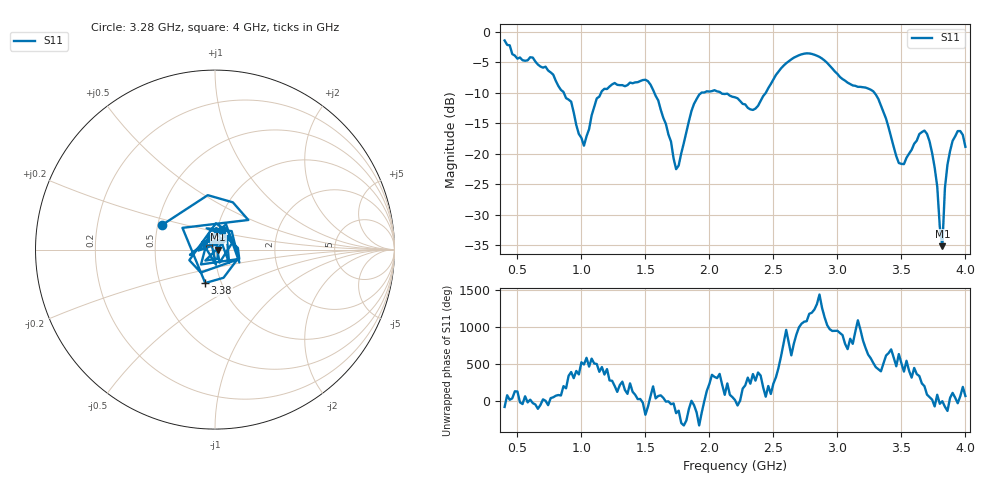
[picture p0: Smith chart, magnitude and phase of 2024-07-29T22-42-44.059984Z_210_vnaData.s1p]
!Created with skrf (http://scikit-rf.org).
# Hz S RI R 50.0
!freq ReS11 ImS11
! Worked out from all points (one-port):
!   181 points, 400 MHz to 4 GHz, reference 50 ohm
!   lowest |S11| = -35.2 dB at 3.82 GHz (marker M1), VSWR 1.04, Z = 51.8 - j0.0219 ohm
!   |S11| at or under -10 dB: 1.57 GHz to 1.937 GHz (367.4 MHz wide, 21 % of centre); 2.09 GHz to 2.441 GHz (351 MHz wide, 15.5 % of centre); 3.289 GHz to end of sweep (the widest 3 of 4)
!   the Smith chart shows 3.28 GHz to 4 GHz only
!   S11 on the Smith chart (normalised r, x): 3.28 GHz: 0.53, +0.16; 3.38 GHz: 0.84, -0.32; 4 GHz: 1.06, +0.23
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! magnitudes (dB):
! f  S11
! 400 MHz  -1.4
! 860 MHz  -9.9
! 920 MHz  -11.5
! 1.02 GHz  -18.7
! 1.12 GHz  -10.9
! 1.3 GHz  -8.7
! 1.54 GHz  -8.7
! 1.66 GHz  -15.1
! 1.74 GHz  -22.5
! 1.76 GHz  -21.9
! 1.86 GHz  -13.0
! 1.92 GHz  -10.3
! 2.2 GHz  -10.7
! 2.36 GHz  -12.6
! 2.66 GHz  -4.2
! 2.86 GHz  -4.1
! 3.1 GHz  -8.6
! 3.28 GHz  -9.7
! 3.38 GHz  -14.2
! 3.48 GHz  -21.5
! 3.56 GHz  -20.0
! 3.7 GHz  -16.7
! 3.76 GHz  -22.3
! 3.82 GHz  -35.2
! 3.84 GHz  -25.7
! 3.88 GHz  -19.6
! 3.94 GHz  -16.3
! 4 GHz  -18.9
